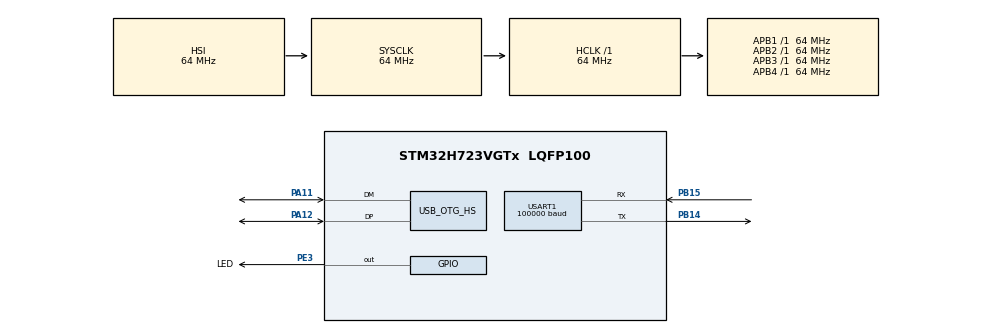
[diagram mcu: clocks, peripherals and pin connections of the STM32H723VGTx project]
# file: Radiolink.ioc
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CORTEX_M7.default_mode_Activation=1
Mcu.Family=STM32H7
Mcu.Name=STM32H723VGTx
Mcu.Package=LQFP100
NVIC.OTG_HS_IRQn=true\:0\:0\:false\:false\:true\:false\:true\:true
NVIC.PriorityGroup=NVIC_PRIORITYGROUP_4
PA11.Mode=Device_Only_FS
PA11.Signal=USB_OTG_HS_DM
PA12.Mode=Device_Only_FS
PA12.Signal=USB_OTG_HS_DP
PA13(JTMS/SWDIO).Signal=DEBUG_JTMS-SWDIO
PA14(JTCK/SWCLK).Signal=DEBUG_JTCK-SWCLK
PB14.Mode=Asynchronous
PB14.Signal=USART1_TX
PB15.Mode=Asynchronous
PB15.Signal=USART1_RX
PE3.GPIO_Label=LED
PE3.Signal=GPIO_Output
ProjectManager.HeapSize=0x200
ProjectManager.StackSize=0x400
ProjectManager.TargetToolchain=STM32CubeIDE
RCC.ADCFreq_Value=129000000
RCC.APB1Freq_Value=64000000
RCC.APB2Freq_Value=64000000
RCC.APB3Freq_Value=64000000
RCC.APB4Freq_Value=64000000
RCC.CortexFreq_Value=64000000
RCC.HCLKFreq_Value=64000000
RCC.SYSCLKFreq_VALUE=64000000
RCC.USBCLockSelection=RCC_USBCLKSOURCE_HSI48
RCC.USBFreq_Value=48000000
USART1.BaudRate=100000
USART1.DataInvertParam=ADVFEATURE_DATAINV_DISABLE
USART1.Mode=MODE_RX
USART1.Parity=PARITY_EVEN
USART1.RxPinLevelInvertParam=ADVFEATURE_RXINV_ENABLE
USART1.StopBits=STOPBITS_2
USART1.VirtualMode-Asynchronous=VM_ASYNC
USART1.WordLength=WORDLENGTH_9B
USB_DEVICE.CLASS_NAME_HS=CUSTOM_HID
USB_DEVICE.USBD_CUSTOM_HID_REPORT_DESC_SIZE=28
USB_DEVICE.USBD_SELF_POWERED=0
USB_DEVICE.VirtualMode=CustomHid
USB_DEVICE.VirtualModeHS=Custom_Hid_HS
USB_OTG_HS.VirtualMode-Device_Only_FS=Device_Only_FS
VP_MEMORYMAP_VS_MEMORYMAP.Mode=CurAppReg
VP_USB_DEVICE_VS_USB_DEVICE_CUSTOM_HID_HS.Mode=CUSTOM_HID_HS
board=custom

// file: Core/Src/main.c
/* USER CODE BEGIN Header */
/**
  ******************************************************************************
  * @file           : main.c
  * @brief          : Main program body
  ******************************************************************************
  * @attention
  *
  * Copyright (c) 2026 STMicroelectronics.
  * All rights reserved.
  *
  * This software is licensed under terms that can be found in the LICENSE file
  * in the root directory of this software component.
  * If no LICENSE file comes with this software, it is provided AS-IS.
  *
  ******************************************************************************
  */
/* USER CODE END Header */
#include "main.h"
#include "usb_device.h"

/* USER CODE BEGIN Includes */
#include "usbd_customhid.h"
#include <stdio.h>
/* USER CODE END Includes */

UART_HandleTypeDef huart1;

/* USER CODE BEGIN PV */
extern USBD_HandleTypeDef hUsbDeviceHS;

static uint8_t reporteHID[8] =
{
    0x00, 0x80,   // X  = 32768
    0x00, 0x80,   // Y  = 32768
    0x00, 0x80,   // Z  = 32768
    0x00, 0x80    // Rz = 32768
};
/* USER CODE END PV */

void SystemClock_Config(void);
static void MPU_Config(void);
static void MX_GPIO_Init(void);
static void MX_USART1_UART_Init(void);

int main(void)
{

  /* MPU Configuration--------------------------------------------------------*/
  MPU_Config();

  /* MCU Configuration--------------------------------------------------------*/

  /* Reset of all peripherals, Initializes the Flash interface and the Systick. */
  HAL_Init();

  /* Configure the system clock */
  SystemClock_Config();

  /* Initialize all configured peripherals */
  MX_GPIO_Init();
  MX_USART1_UART_Init();
  MX_USB_DEVICE_Init();
  /* USER CODE BEGIN 2 */

  uint32_t ultimoEnvioUSB = 0;
  static uint8_t mensajeUSB[512] = {0};

  uint8_t tramaSBUS[25] = {0};
  uint8_t byteSBUS = 0;
  uint8_t i_trama = 0;
  uint32_t tramasValidas = 0;
  uint16_t canales[16] = {0};
  uint8_t failsafe_flag = 0;
  uint8_t lost_flag = 0;
  uint32_t ultimaTrama = 0;
  uint32_t now = 0;
  uint32_t ultimoByte = 0;
  uint8_t existeByteAnterior = 0;
  uint8_t inicioPermitido = 0;

  uint32_t pausasDetectadas = 0;
  uint32_t tramasRechazadas = 0;

  uint32_t erroresUART = 0;
  uint32_t overrunsUART = 0;
  uint8_t tramaRaw[25] = {0};

  uint32_t ultimoHID = 0;

  // Señal de arranque: cambiar el LED dos veces
  HAL_GPIO_WritePin(GPIOE, GPIO_PIN_3, GPIO_PIN_RESET);
  HAL_Delay(500);

  HAL_GPIO_WritePin(GPIOE, GPIO_PIN_3, GPIO_PIN_SET);
  HAL_Delay(500);

  HAL_GPIO_WritePin(GPIOE, GPIO_PIN_3, GPIO_PIN_RESET);

  /* USER CODE END 2 */

  /* Infinite loop */
  while (1)
  {

    /* USER CODE BEGIN 3 */
      HAL_StatusTypeDef estado;
	  estado = HAL_UART_Receive(
	  	          &huart1,
	  	          &byteSBUS,
	  	          1,
	  	          20
	  	      );

	  if (estado == HAL_ERROR)
	  {
	      erroresUART++;

	      if ((HAL_UART_GetError(&huart1) & HAL_UART_ERROR_ORE) != 0U)
	      {
	          overrunsUART++;
	      }
	  }

	  now = HAL_GetTick();

	  if (estado == HAL_OK){

		  uint8_t pausaDetectada =
		          existeByteAnterior &&
		          ((uint32_t)(now - ultimoByte) >= 3U);

		  ultimoByte = now;
		      existeByteAnterior = 1;

		  if (pausaDetectada){
			  i_trama = 0;
			  inicioPermitido = 1;

			  pausasDetectadas++;

		  }

		  if(i_trama == 0){
			  //Posible encabezado
			  if(inicioPermitido && byteSBUS == 0x0F){
				  tramaSBUS[0] = byteSBUS;
				  i_trama += 1;
			  }
			  inicioPermitido = 0;

		  }
		  else{
			  tramaSBUS[i_trama] = byteSBUS;
			  i_trama++;
			  if(i_trama == 25){
				  if(tramaSBUS[24] == 0x00){
					  ultimaTrama = now;
					  tramasValidas++;

					  for (uint8_t j = 0; j < 25U; j++)
					  {
					      tramaRaw[j] = tramaSBUS[j];
					  }

					  //Trama completada
					  // decodificar canalaes

					  failsafe_flag = ((tramaSBUS[23] & (1U << 3)) != 0U);
					  lost_flag = ((tramaSBUS[23] & (1U << 2)) != 0U);

					  for (uint8_t i = 0; i < 16; i++)
					  {
					      uint16_t bitInicial = i * 11U;
					      uint8_t byteInicial = 1U + bitInicial / 8U;
					      uint8_t desplazamiento = bitInicial % 8U;

					      uint32_t ventana;

					      ventana = (uint32_t)tramaSBUS[byteInicial] |
					    		  ((uint32_t)tramaSBUS[byteInicial+1U] << 8U);
					      if (byteInicial + 2U <= 22U)
					      {
					          // Añadir el tercer byte a ventana
					    	  ventana |= ((uint32_t)tramaSBUS[byteInicial+2U] << 16U);
					      }
					      canales[i] = (ventana >> desplazamiento) & 0x7FF;
					  }

				  }
				  else{
					  tramasRechazadas++;
				  }
				  inicioPermitido = 0;
				  i_trama = 0;
			  }

		  }
	  }
	  else{
		  i_trama = 0;
		  inicioPermitido = 0;

	  }

	  uint8_t comunicacionReciente =
	      (tramasValidas > 0U) &&
	      ((uint32_t)(now - ultimaTrama) < 100U);

	  uint8_t datosConfiables =
	      comunicacionReciente &&
	      !failsafe_flag &&
	      !lost_flag;

	  if (datosConfiables)
	  {
	      // Podemos utilizar canales[0], canales[1], etc.
		  if (canales[3] > 1000U){
			  HAL_GPIO_WritePin(GPIOE, LED_Pin, GPIO_PIN_SET);
		  }
		  else{
			  HAL_GPIO_WritePin(GPIOE, LED_Pin, GPIO_PIN_RESET);
		  }
	  }
	  else{
		  HAL_GPIO_WritePin(GPIOE, LED_Pin, GPIO_PIN_RESET);

	  }

	  uint32_t tiempoHID = HAL_GetTick();

	  if ((uint32_t)(tiempoHID - ultimoHID) >= 20U)
	  {
	      ultimoHID = tiempoHID;

	      if (hUsbDeviceHS.dev_state == USBD_STATE_CONFIGURED)
	      {
	          uint8_t datosValidos =
	              (tramasValidas > 0U) &&
	              ((uint32_t)(tiempoHID - ultimaTrama) < 100U) &&
	              (failsafe_flag == 0U) &&
	              (lost_flag == 0U);

	          // X, Y, Z, Rz
	          // Posiciones seguras si perdemos la señal.
	          uint16_t ejes[4] = {
	              32768U, // X: centro
	              32768U, // Y: centro
	              0U,     // Z: throttle mínimo
	              32768U  // Rz: centro
	          };

	          if (datosValidos)
	          {
	              for (uint8_t i = 0; i < 4U; i++)
	              {
	                  uint16_t sbus = canales[i];

	                  // Limitar al rango SBUS esperado
	                  if (sbus < 200U)
	                  {
	                      sbus = 200U;
	                  }

	                  if (sbus > 1800U)
	                  {
	                      sbus = 1800U;
	                  }

	                  // Convertir 200..1800 a 0..65535
	                  uint16_t valorHID = (uint16_t)(
	                      ((uint32_t)(sbus - 200U) * 65535U)
	                      / 1600U
	                  );

	                  // Invertir CH3 (throttle)
	                  if (i == 2U)
	                  {
	                      valorHID = (uint16_t)(65535U - valorHID);
	                  }

	                  ejes[i] = valorHID;
	              }
	          }

	          // Construir el reporte HID de 8 bytes
	          for (uint8_t i = 0; i < 4U; i++)
	          {
	              reporteHID[2U * i] =
	                  (uint8_t)(ejes[i] & 0xFFU);

	              reporteHID[2U * i + 1U] =
	                  (uint8_t)(ejes[i] >> 8U);
	          }

	          // Enviar los cuatro ejes a Windows
	          USBD_CUSTOM_HID_SendReport(
	              &hUsbDeviceHS,
	              reporteHID,
	              sizeof(reporteHID)
	          );
	      }
	  }

  }

  /* USER CODE END 3 */
}

void SystemClock_Config(void)
{
  RCC_OscInitTypeDef RCC_OscInitStruct = {0};
  RCC_ClkInitTypeDef RCC_ClkInitStruct = {0};

  /** Supply configuration update enable
  */
  HAL_PWREx_ConfigSupply(PWR_LDO_SUPPLY);

  /** Configure the main internal regulator output voltage
  */
  __HAL_PWR_VOLTAGESCALING_CONFIG(PWR_REGULATOR_VOLTAGE_SCALE3);

  while(!__HAL_PWR_GET_FLAG(PWR_FLAG_VOSRDY)) {}

  /** Initializes the RCC Oscillators according to the specified parameters
  * in the RCC_OscInitTypeDef structure.
  */
  RCC_OscInitStruct.OscillatorType = RCC_OSCILLATORTYPE_HSI48|RCC_OSCILLATORTYPE_HSI;
  RCC_OscInitStruct.HSIState = RCC_HSI_DIV1;
  RCC_OscInitStruct.HSICalibrationValue = 64;
  RCC_OscInitStruct.HSI48State = RCC_HSI48_ON;
  RCC_OscInitStruct.PLL.PLLState = RCC_PLL_NONE;
  if (HAL_RCC_OscConfig(&RCC_OscInitStruct) != HAL_OK)
  {
    Error_Handler();
  }

  /** Initializes the CPU, AHB and APB buses clocks
  */
  RCC_ClkInitStruct.ClockType = RCC_CLOCKTYPE_HCLK|RCC_CLOCKTYPE_SYSCLK
                              |RCC_CLOCKTYPE_PCLK1|RCC_CLOCKTYPE_PCLK2
                              |RCC_CLOCKTYPE_D3PCLK1|RCC_CLOCKTYPE_D1PCLK1;
  RCC_ClkInitStruct.SYSCLKSource = RCC_SYSCLKSOURCE_HSI;
  RCC_ClkInitStruct.SYSCLKDivider = RCC_SYSCLK_DIV1;
  RCC_ClkInitStruct.AHBCLKDivider = RCC_HCLK_DIV1;
  RCC_ClkInitStruct.APB3CLKDivider = RCC_APB3_DIV1;
  RCC_ClkInitStruct.APB1CLKDivider = RCC_APB1_DIV1;
  RCC_ClkInitStruct.APB2CLKDivider = RCC_APB2_DIV1;
  RCC_ClkInitStruct.APB4CLKDivider = RCC_APB4_DIV1;

  if (HAL_RCC_ClockConfig(&RCC_ClkInitStruct, FLASH_LATENCY_1) != HAL_OK)
  {
    Error_Handler();
  }
}

static void MX_USART1_UART_Init(void)
{

  huart1.Instance = USART1;
  huart1.Init.BaudRate = 100000;
  huart1.Init.WordLength = UART_WORDLENGTH_9B;
  huart1.Init.StopBits = UART_STOPBITS_2;
  huart1.Init.Parity = UART_PARITY_EVEN;
  huart1.Init.Mode = UART_MODE_RX;
  huart1.Init.HwFlowCtl = UART_HWCONTROL_NONE;
  huart1.Init.OverSampling = UART_OVERSAMPLING_16;
  huart1.Init.OneBitSampling = UART_ONE_BIT_SAMPLE_DISABLE;
  huart1.Init.ClockPrescaler = UART_PRESCALER_DIV1;
  huart1.AdvancedInit.AdvFeatureInit = UART_ADVFEATURE_RXINVERT_INIT;
  huart1.AdvancedInit.RxPinLevelInvert = UART_ADVFEATURE_RXINV_ENABLE;
  if (HAL_UART_Init(&huart1) != HAL_OK)
  {
    Error_Handler();
  }
  if (HAL_UARTEx_SetTxFifoThreshold(&huart1, UART_TXFIFO_THRESHOLD_1_8) != HAL_OK)
  {
    Error_Handler();
  }
  if (HAL_UARTEx_SetRxFifoThreshold(&huart1, UART_RXFIFO_THRESHOLD_1_8) != HAL_OK)
  {
    Error_Handler();
  }
  if (HAL_UARTEx_DisableFifoMode(&huart1) != HAL_OK)
  {
    Error_Handler();
  }

}

static void MX_GPIO_Init(void)
{
  GPIO_InitTypeDef GPIO_InitStruct = {0};

  /* GPIO Ports Clock Enable */
  __HAL_RCC_GPIOE_CLK_ENABLE();
  __HAL_RCC_GPIOB_CLK_ENABLE();
  __HAL_RCC_GPIOA_CLK_ENABLE();

  /*Configure GPIO pin Output Level */
  HAL_GPIO_WritePin(LED_GPIO_Port, LED_Pin, GPIO_PIN_RESET);

  /*Configure GPIO pin : LED_Pin */
  GPIO_InitStruct.Pin = LED_Pin;
  GPIO_InitStruct.Mode = GPIO_MODE_OUTPUT_PP;
  GPIO_InitStruct.Pull = GPIO_NOPULL;
  GPIO_InitStruct.Speed = GPIO_SPEED_FREQ_LOW;
  HAL_GPIO_Init(LED_GPIO_Port, &GPIO_InitStruct);

}

 /* MPU Configuration */

void MPU_Config(void)
{
  MPU_Region_InitTypeDef MPU_InitStruct = {0};

  /* Disables the MPU */
  HAL_MPU_Disable();

  /** Initializes and configures the Region and the memory to be protected
  */
  MPU_InitStruct.Enable = MPU_REGION_ENABLE;
  MPU_InitStruct.Number = MPU_REGION_NUMBER0;
  MPU_InitStruct.BaseAddress = 0x0;
  MPU_InitStruct.Size = MPU_REGION_SIZE_4GB;
  MPU_InitStruct.SubRegionDisable = 0x87;
  MPU_InitStruct.TypeExtField = MPU_TEX_LEVEL0;
  MPU_InitStruct.AccessPermission = MPU_REGION_NO_ACCESS;
  MPU_InitStruct.DisableExec = MPU_INSTRUCTION_ACCESS_DISABLE;
  MPU_InitStruct.IsShareable = MPU_ACCESS_SHAREABLE;
  MPU_InitStruct.IsCacheable = MPU_ACCESS_NOT_CACHEABLE;
  MPU_InitStruct.IsBufferable = MPU_ACCESS_NOT_BUFFERABLE;

  HAL_MPU_ConfigRegion(&MPU_InitStruct);
  /* Enables the MPU */
  HAL_MPU_Enable(MPU_PRIVILEGED_DEFAULT);

}

void Error_Handler(void)
{
  __disable_irq();
  while (1)
  {
  }
}
